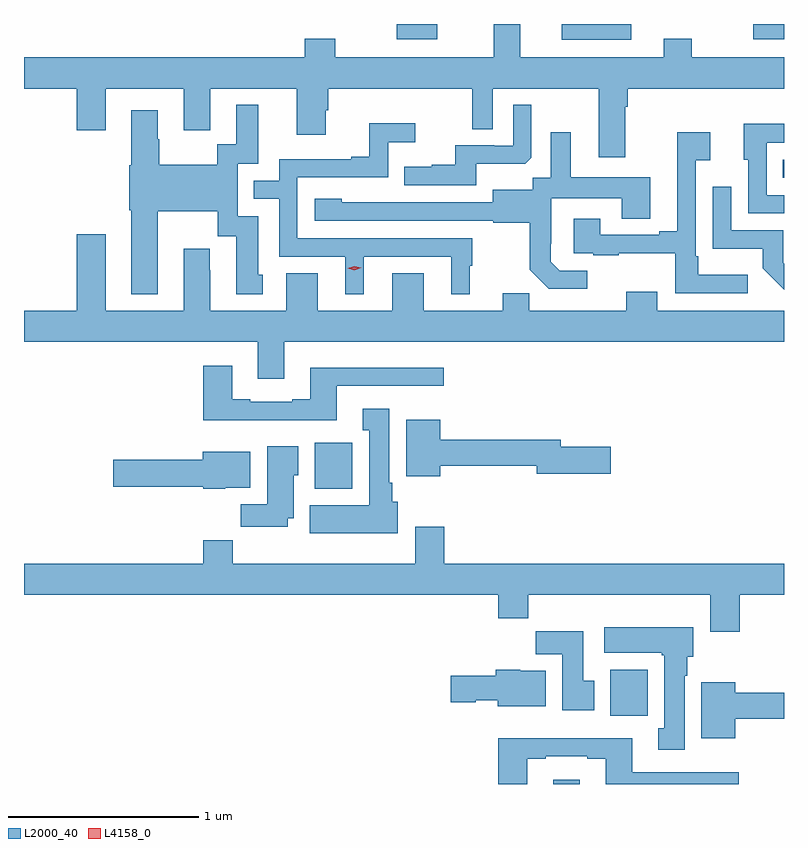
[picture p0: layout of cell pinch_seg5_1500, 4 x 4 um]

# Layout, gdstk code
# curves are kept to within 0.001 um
import gdstk
lib = gdstk.Library(unit=1e-6, precision=1e-09)
def R(c, l, rs):  # rectangles x0, y0, x1, y1
    for r in rs: c.add(gdstk.rectangle(r[:2], r[2:], *l))
def P(c, l, *ps):  # polygons
    for p in ps: c.add(gdstk.Polygon(p, *l))
L2000_40 = (2000, 40)
L4158_0 = (4158, 0)

pinch_seg5_1500 = lib.new_cell('pinch_seg5_1500')
R(pinch_seg5_1500, L2000_40, [(351.467,866.42,351.607,866.443), (351.767,866.78,351.964,867.022), (350.213,867.974,350.41,868.216), (352.675,869.61,352.682,869.706), (351.513,870.336,351.877,870.42), (350.643,870.339,350.857,870.42), (352.521,870.339,352.682,870.42)])
P(pinch_seg5_1500, L2000_40, [(351.847,869.984),(351.86,869.984),(351.86,870.08),(352.682,870.08),(352.682,870.244),(352.197,870.244),(352.197,870.343),(352.049,870.343),(352.049,870.244),(351.295,870.244),(351.295,870.42),(351.155,870.42),(351.155,870.244),(350.319,870.244),(350.319,870.343),(350.159,870.343),(350.159,870.244),(348.682,870.244),(348.682,870.08),(348.959,870.08),(348.959,869.862),(349.111,869.862),(349.111,870.08),(349.523,870.08),(349.523,869.862),(349.663,869.862),(349.663,870.08),(350.117,870.08),(350.117,869.838),(350.269,869.838),(350.269,869.967),(350.282,869.967),(350.282,870.08),(351.042,870.08),(351.042,869.866),(351.15,869.866),(351.15,870.08),(351.707,870.08),(351.707,869.718),(351.847,869.718)],
  [(349.387,869.435),(349.703,869.435),(349.703,869.304),(349.799,869.304),(349.799,868.998),(349.939,868.998),(349.939,869.1),(349.915,869.1),(349.915,869.409),(349.806,869.409),(349.806,869.685),(349.915,869.685),(349.915,869.995),(349.799,869.995),(349.799,869.786),(349.698,869.786),(349.698,869.68),(349.395,869.68),(349.395,869.814),(349.387,869.814),(349.387,869.965),(349.247,869.965),(349.247,869.676),(349.235,869.676),(349.235,869.439),(349.247,869.439),(349.247,868.997),(349.387,868.997)],
  [(351.061,869.684),(351.319,869.684),(351.351,869.715),(351.351,869.995),(351.258,869.995),(351.258,869.778),(351.158,869.778),(351.158,869.781),(350.951,869.781),(350.951,869.68),(350.827,869.68),(350.827,869.668),(350.683,869.668),(350.683,869.571),(351.061,869.571)],
  [(350.47,869.196),(350.93,869.196),(350.93,868.997),(351.028,868.997),(351.028,869.148),(351.04,869.148),(351.04,869.292),(350.121,869.292),(350.121,869.613),(350.598,869.613),(350.598,869.798),(350.74,869.798),(350.74,869.897),(350.5,869.897),(350.5,869.722),(350.405,869.722),(350.405,869.709),(350.025,869.709),(350.025,869.595),(349.891,869.595),(349.891,869.499),(350.025,869.499),(350.025,869.196),(350.372,869.196),(350.372,868.997),(350.47,868.997)],
  [(352.682,869.52),(352.59,869.52),(352.59,869.796),(352.682,869.796),(352.682,869.894),(352.469,869.894),(352.469,869.706),(352.494,869.706),(352.494,869.424),(352.682,869.424)],
  [(352.492,869.101),(352.231,869.101),(352.231,869.197),(352.218,869.197),(352.218,869.702),(352.294,869.702),(352.294,869.851),(352.121,869.851),(352.121,869.329),(352.025,869.329),(352.025,869.31),(351.715,869.31),(351.715,869.395),(351.575,869.395),(351.575,869.214),(351.679,869.214),(351.679,869.202),(351.811,869.202),(351.811,869.213),(352.11,869.213),(352.11,869.004),(352.492,869.004)],
  [(351.646,869.121),(351.501,869.121),(351.454,869.168),(351.454,869.263),(351.456,869.263),(351.456,869.504),(351.827,869.504),(351.827,869.395),(351.979,869.395),(351.979,869.614),(351.559,869.614),(351.559,869.851),(351.455,869.851),(351.455,869.612),(351.36,869.612),(351.36,869.548),(351.149,869.548),(351.149,869.481),(350.355,869.482),(350.355,869.5),(350.211,869.5),(350.211,869.385),(351.153,869.385),(351.153,869.373),(351.345,869.373),(351.345,869.127),(351.445,869.027),(351.646,869.027)],
  [(352.682,869.158),(352.677,869.163),(352.677,869.334),(352.404,869.334),(352.404,869.563),(352.308,869.563),(352.308,869.237),(352.57,869.237),(352.57,869.135),(352.682,869.022)],
  [(350.053,868.748),(352.682,868.748),(352.682,868.912),(352.015,868.912),(352.015,869.011),(351.851,869.011),(351.851,868.912),(351.341,868.912),(351.341,869.003),(351.203,869.003),(351.203,868.912),(350.785,868.912),(350.785,869.107),(350.621,869.107),(350.621,868.912),(350.227,868.912),(350.227,869.107),(350.063,869.107),(350.063,868.912),(349.663,868.912),(349.663,869.123),(349.66,869.123),(349.66,869.236),(349.523,869.236),(349.523,868.912),(349.111,868.912),(349.111,869.314),(348.959,869.314),(348.959,868.912),(348.682,868.912),(348.682,868.748),(349.913,868.748),(349.913,868.554),(350.053,868.554)],
  [(350.329,868.515),(350.89,868.515),(350.89,868.612),(350.189,868.612),(350.189,868.444),(350.093,868.444),(350.093,868.431),(349.873,868.431),(349.873,868.444),(349.777,868.444),(349.777,868.621),(349.625,868.621),(349.625,868.334),(350.329,868.334)],
  [(350.65,867.906),(350.62,867.906),(350.62,868.006),(350.605,868.006),(350.605,868.396),(350.465,868.396),(350.465,868.283),(350.498,868.283),(350.498,867.886),(350.186,867.886),(350.186,867.74),(350.65,867.74)],
  [(350.872,868.096),(351.38,868.096),(351.38,868.054),(351.769,868.054),(351.769,868.196),(351.508,868.196),(351.508,868.232),(350.872,868.232),(350.872,868.336),(350.693,868.336),(350.693,868.04),(350.872,868.04)],
  [(350.071,867.818),(350.101,867.818),(350.101,868.044),(350.125,868.044),(350.125,868.198),(349.961,868.198),(349.961,867.892),(349.822,867.892),(349.822,867.774),(350.071,867.774)],
  [(349.74,867.98),(349.873,867.98),(349.873,868.168),(349.622,868.168),(349.622,868.127),(349.152,868.127),(349.152,867.985),(349.626,867.985),(349.626,867.974),(349.74,867.974)],
  [(352.448,867.416),(352.682,867.416),(352.682,867.58),(350.894,867.58),(350.894,867.775),(350.741,867.775),(350.741,867.58),(349.781,867.58),(349.781,867.704),(349.625,867.704),(349.625,867.58),(348.682,867.58),(348.682,867.416),(351.179,867.416),(351.179,867.292),(351.335,867.292),(351.335,867.416),(352.295,867.416),(352.295,867.222),(352.448,867.222)],
  [(352.159,866.99),(352.174,866.99),(352.174,867.09),(352.204,867.09),(352.204,867.244),(351.735,867.244),(351.735,867.11),(352.039,867.11),(352.039,867.097),(352.052,867.097),(352.052,866.714),(352.019,866.714),(352.019,866.601),(352.159,866.601)],
  [(351.682,866.964),(351.625,866.964),(351.625,867.223),(351.376,867.223),(351.376,867.104),(351.515,867.104),(351.515,866.808),(351.682,866.808)],
  [(351.427,867.016),(351.294,867.016),(351.294,867.022),(351.164,867.022),(351.164,866.991),(350.928,866.991),(350.928,866.849),(351.06,866.849),(351.06,866.861),(351.176,866.861),(351.176,866.828),(351.427,866.828)],
  [(352.426,866.764),(352.682,866.764),(352.682,866.9),(352.426,866.9),(352.426,866.956),(352.247,866.956),(352.247,866.66),(352.426,866.66)],
  [(351.331,866.553),(351.427,866.553),(351.427,866.565),(351.647,866.565),(351.647,866.553),(351.743,866.553),(351.743,866.42),(352.444,866.42),(352.444,866.481),(351.883,866.481),(351.883,866.662),(351.179,866.662),(351.179,866.42),(351.331,866.42)])
P(pinch_seg5_1500, L4158_0, [(350.421,869.125),(350.385,869.134),(350.385,869.134),(350.385,869.134),(350.421,869.145),(350.457,869.137),(350.457,869.136),(350.457,869.136)])

lib.write_gds('pinch_seg5_1500.gds')
